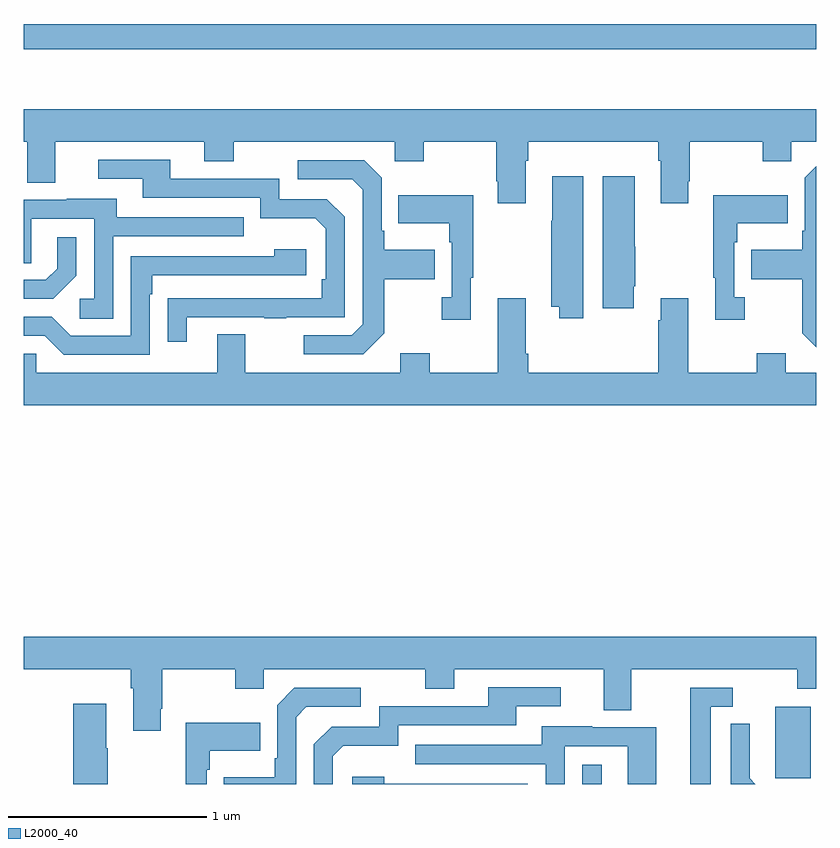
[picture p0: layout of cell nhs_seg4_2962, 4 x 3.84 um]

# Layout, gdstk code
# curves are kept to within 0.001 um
import gdstk
lib = gdstk.Library(unit=1e-6, precision=1e-09)
def R(c, l, rs):  # rectangles x0, y0, x1, y1
    for r in rs: c.add(gdstk.rectangle(r[:2], r[2:], *l))
def P(c, l, *ps):  # polygons
    for p in ps: c.add(gdstk.Polygon(p, *l))
L2000_40 = (2000, 40)

nhs_seg4_2962 = lib.new_cell('nhs_seg4_2962')
R(nhs_seg4_2962, L2000_40, [(269.82,802.9,269.917,802.996), (270.794,802.929,270.973,803.29), (267,806.61,271,806.738)])
P(nhs_seg4_2962, L2000_40, [(269.533,806.048),(269.546,806.048),(269.546,806.144),(270.203,806.144),(270.203,806.048),(270.215,806.048),(270.215,805.833),(270.355,805.833),(270.355,805.945),(270.363,805.945),(270.363,806.144),(270.73,806.144),(270.73,806.045),(270.876,806.045),(270.876,806.144),(271,806.144),(271,806.308),(267,806.308),(267,806.144),(267.017,806.144),(267.017,805.936),(267.157,805.936),(267.157,806.144),(267.911,806.144),(267.911,806.045),(268.059,806.045),(268.059,806.144),(268.872,806.144),(268.872,806.045),(269.019,806.045),(269.019,806.144),(269.386,806.144),(269.386,805.945),(269.393,805.945),(269.393,805.833),(269.533,805.833)],
  [(267.823,805.257),(268.213,805.257),(268.213,805.252),(268.325,805.252),(268.325,805.257),(268.62,805.257),(268.62,805.764),(268.53,805.854),(268.29,805.854),(268.29,805.956),(267.739,805.956),(267.739,806.052),(267.375,806.052),(267.375,805.956),(267.599,805.956),(267.599,805.86),(268.194,805.86),(268.194,805.757),(268.471,805.757),(268.524,805.704),(268.524,805.45),(268.504,805.45),(268.504,805.353),(267.727,805.352),(267.727,805.134),(267.823,805.134)],
  [(268.819,805.177),(268.819,805.45),(269.075,805.45),(269.075,805.597),(268.819,805.597),(268.819,805.693),(268.806,805.693),(268.806,805.962),(268.719,806.049),(268.383,806.049),(268.383,805.953),(268.659,805.953),(268.71,805.902),(268.71,805.221),(268.656,805.167),(268.413,805.167),(268.413,805.071),(268.713,805.071)],
  [(271,806.02),(270.942,805.962),(270.942,805.693),(270.93,805.693),(270.93,805.597),(270.673,805.597),(270.673,805.45),(270.93,805.45),(270.93,805.177),(271,805.106)],
  [(270.079,805.414),(270.087,805.414),(270.087,805.614),(270.085,805.614),(270.085,805.969),(269.924,805.969),(269.924,805.302),(270.079,805.302)],
  [(269.824,805.969),(269.669,805.969),(269.669,805.745),(269.662,805.745),(269.662,805.31),(269.702,805.31),(269.702,805.251),(269.824,805.251)],
  [(270.64,805.358),(270.588,805.358),(270.588,805.637),(270.601,805.637),(270.601,805.733),(270.857,805.733),(270.857,805.873),(270.48,805.873),(270.48,805.457),(270.491,805.457),(270.491,805.245),(270.64,805.245)],
  [(269.257,805.457),(269.269,805.457),(269.269,805.873),(268.891,805.873),(268.891,805.733),(269.148,805.733),(269.148,805.637),(269.16,805.637),(269.16,805.358),(269.109,805.358),(269.109,805.245),(269.257,805.245)],
  [(267.45,805.665),(268.109,805.665),(268.109,805.761),(267.469,805.761),(267.469,805.855),(267.215,805.855),(267.215,805.851),(267,805.851),(267,805.531),(267.036,805.531),(267.036,805.755),(267.354,805.755),(267.354,805.35),(267.282,805.35),(267.282,805.249),(267.45,805.249)],
  [(267.264,805.466),(267.264,805.66),(267.167,805.66),(267.167,805.503),(267.11,805.446),(267,805.446),(267,805.35),(267.148,805.35)],
  [(267.636,805.373),(267.649,805.373),(267.649,805.47),(268.426,805.47),(268.426,805.6),(268.265,805.6),(268.265,805.566),(267.54,805.566),(267.54,805.164),(267.237,805.164),(267.141,805.26),(267,805.26),(267,805.164),(267.105,805.164),(267.201,805.068),(267.636,805.068)],
  [(271,804.976),(270.847,804.976),(270.847,805.075),(270.7,805.075),(270.7,804.976),(270.355,804.976),(270.355,805.354),(270.215,805.354),(270.215,805.241),(270.203,805.241),(270.203,804.976),(269.546,804.976),(269.546,805.072),(269.533,805.072),(269.533,805.354),(269.393,805.354),(269.393,804.976),(269.049,804.976),(269.049,805.075),(268.901,805.075),(268.901,804.976),(268.117,804.976),(268.117,805.171),(267.977,805.171),(267.977,804.976),(267.063,804.976),(267.063,805.074),(267,805.074),(267,804.812),(271,804.812)],
  [(267.691,803.281),(267.699,803.281),(267.699,803.48),(268.066,803.48),(268.066,803.381),(268.212,803.381),(268.212,803.48),(269.026,803.48),(269.026,803.381),(269.173,803.381),(269.173,803.48),(269.927,803.48),(269.927,803.272),(270.067,803.272),(270.067,803.48),(270.904,803.48),(270.904,803.381),(271,803.381),(271,803.644),(267,803.644),(267,803.48),(267.539,803.48),(267.539,803.384),(267.551,803.384),(267.551,803.169),(267.691,803.169)],
  [(268.56,803.04),(268.613,803.093),(268.89,803.093),(268.89,803.196),(269.485,803.196),(269.485,803.292),(269.71,803.292),(269.71,803.388),(269.345,803.388),(269.345,803.292),(268.794,803.292),(268.794,803.19),(268.554,803.19),(268.464,803.1),(268.464,802.9),(268.56,802.9)],
  [(268.374,803.238),(268.425,803.289),(268.702,803.289),(268.702,803.385),(268.365,803.385),(268.278,803.298),(268.278,803.029),(268.266,803.029),(268.266,802.933),(268.009,802.933),(268.009,802.9),(268.374,802.9)],
  [(270.469,803.289),(270.58,803.289),(270.58,803.385),(270.365,803.385),(270.365,802.9),(270.469,802.9)],
  [(267.423,803.081),(267.415,803.081),(267.415,803.305),(267.248,803.305),(267.248,802.9),(267.423,802.9)],
  [(267.924,802.973),(267.937,802.973),(267.937,803.069),(268.193,803.069),(268.193,803.209),(267.816,803.209),(267.816,802.9),(267.924,802.9)],
  [(270.665,802.928),(270.665,803.05),(270.666,803.05),(270.666,803.204),(270.57,803.204),(270.57,802.9),(270.693,802.9)],
  [(269.73,803.091),(270.048,803.091),(270.048,802.9),(270.193,802.9),(270.193,803.187),(269.869,803.187),(269.869,803.191),(269.615,803.191),(269.615,803.097),(268.975,803.097),(268.975,803.001),(269.634,803.001),(269.634,802.9),(269.73,802.9)],
  [(269.544,802.902),(268.82,802.902),(268.82,802.936),(268.659,802.936),(268.659,802.9),(269.544,802.9)])

lib.write_gds('nhs_seg4_2962.gds')
